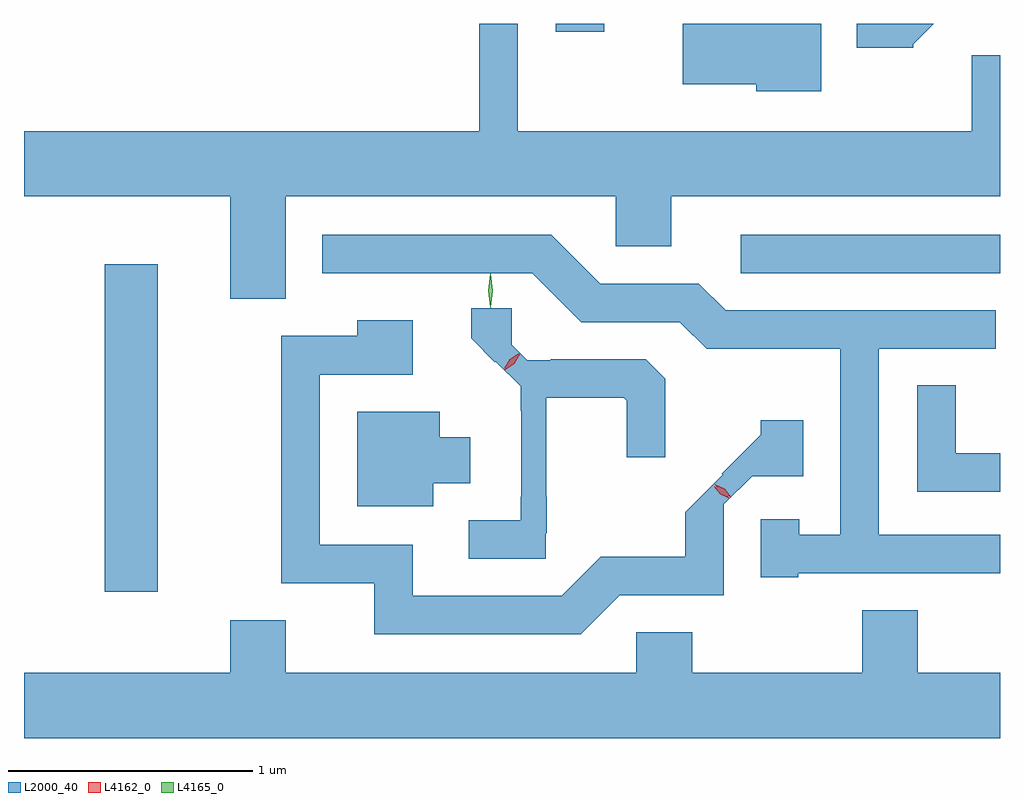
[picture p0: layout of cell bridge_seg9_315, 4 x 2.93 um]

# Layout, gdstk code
import gdstk
lib = gdstk.Library(unit=1e-6, precision=1e-09)
def R(c, l, rs):  # rectangles x0, y0, x1, y1
    for r in rs: c.add(gdstk.rectangle(r[:2], r[2:], *l))
def P(c, l, *ps):  # polygons
    for p in ps: c.add(gdstk.Polygon(p, *l))
L2000_40 = (2000, 40)
L4162_0 = (4162, 0)
L4165_0 = (4165, 0)

bridge_seg9_315 = lib.new_cell('bridge_seg9_315')
R(bridge_seg9_315, L2000_40, [(855.396,2050.136,855.614,2051.479), (858.003,2051.441,859.066,2051.599), (857.246,2052.431,857.444,2052.463)])
P(bridge_seg9_315, L2000_40, [(856.139,2051.756),(857.491,2051.756),(857.491,2051.551),(857.719,2051.551),(857.719,2051.756),(859.066,2051.756),(859.066,2052.334),(858.951,2052.334),(858.951,2052.024),(857.089,2052.024),(857.089,2052.463),(856.931,2052.463),(856.931,2052.024),(855.066,2052.024),(855.066,2051.756),(855.911,2051.756),(855.911,2051.336),(856.139,2051.336)],
  [(858.71,2052.38),(858.794,2052.463),(858.478,2052.463),(858.478,2052.366),(858.71,2052.366)],
  [(858.334,2052.463),(857.766,2052.463),(857.766,2052.216),(858.066,2052.216),(858.066,2052.186),(858.334,2052.186)],
  [(858.24,2050.211),(859.066,2050.211),(859.066,2050.369),(858.569,2050.369),(858.569,2051.131),(859.048,2051.131),(859.048,2051.289),(857.942,2051.289),(857.832,2051.399),(857.427,2051.399),(857.227,2051.599),(856.288,2051.599),(856.288,2051.441),(857.149,2051.441),(857.349,2051.241),(857.754,2051.241),(857.864,2051.131),(858.411,2051.131),(858.411,2050.369),(858.244,2050.369),(858.244,2050.433),(858.086,2050.433),(858.086,2050.196),(858.24,2050.196)],
  [(857.204,2050.375),(857.209,2050.375),(857.209,2050.525),(857.207,2050.525),(857.207,2050.931),(857.524,2050.931),(857.536,2050.919),(857.536,2050.688),(857.694,2050.688),(857.694,2051.009),(857.614,2051.089),(857.225,2051.089),(857.225,2051.085),(857.128,2051.085),(857.065,2051.148),(857.065,2051.298),(856.898,2051.298),(856.898,2051.174),(856.996,2051.076),(856.999,2051.079),(857.101,2050.977),(857.101,2050.878),(857.103,2050.878),(857.103,2050.525),(857.101,2050.525),(857.101,2050.429),(856.888,2050.429),(856.888,2050.271),(857.204,2050.271)],
  [(857.507,2050.121),(857.934,2050.121),(857.934,2050.494),(858.05,2050.61),(858.259,2050.61),(858.259,2050.839),(858.085,2050.839),(858.085,2050.779),(857.926,2050.619),(857.93,2050.615),(857.776,2050.461),(857.776,2050.279),(857.429,2050.279),(857.269,2050.119),(856.659,2050.119),(856.659,2050.329),(856.279,2050.329),(856.279,2051.026),(856.659,2051.026),(856.659,2051.249),(856.431,2051.249),(856.431,2051.184),(856.121,2051.184),(856.121,2050.171),(856.501,2050.171),(856.501,2049.961),(857.347,2049.961)],
  [(859.066,2050.704),(858.884,2050.704),(858.884,2050.983),(858.726,2050.983),(858.726,2050.546),(859.066,2050.546)],
  [(856.744,2050.581),(856.894,2050.581),(856.894,2050.769),(856.769,2050.769),(856.769,2050.874),(856.431,2050.874),(856.431,2050.486),(856.744,2050.486)],
  [(859.066,2049.804),(858.729,2049.804),(858.729,2050.059),(858.501,2050.059),(858.501,2049.804),(857.804,2049.804),(857.804,2049.969),(857.576,2049.969),(857.576,2049.804),(856.139,2049.804),(856.139,2050.019),(855.911,2050.019),(855.911,2049.804),(855.066,2049.804),(855.066,2049.536),(859.066,2049.536)])
P(bridge_seg9_315, L4162_0, [(857.964,2050.523),(857.924,2050.542),(857.896,2050.577),(857.896,2050.577),(857.897,2050.577),(857.937,2050.558),(857.965,2050.524),(857.965,2050.523)],
  [(857.035,2051.043),(857.035,2051.044),(857.06,2051.085),(857.099,2051.113),(857.1,2051.113),(857.1,2051.112),(857.075,2051.071),(857.036,2051.043)],
  [(857.035,2051.051),(857.035,2051.052),(857.057,2051.088),(857.092,2051.111),(857.093,2051.111),(857.093,2051.111),(857.071,2051.074),(857.036,2051.051)],
  [(857.954,2050.519),(857.919,2050.535),(857.895,2050.566),(857.895,2050.567),(857.896,2050.567),(857.931,2050.551),(857.954,2050.52),(857.954,2050.519)])
P(bridge_seg9_315, L4165_0, [(856.978,2051.3),(856.977,2051.301),(856.968,2051.37),(856.977,2051.439),(856.978,2051.439),(856.978,2051.439),(856.988,2051.37),(856.978,2051.301)],
  [(856.978,2051.303),(856.977,2051.304),(856.968,2051.37),(856.977,2051.436),(856.978,2051.437),(856.978,2051.436),(856.988,2051.37),(856.978,2051.304)])

lib.write_gds('bridge_seg9_315.gds')
